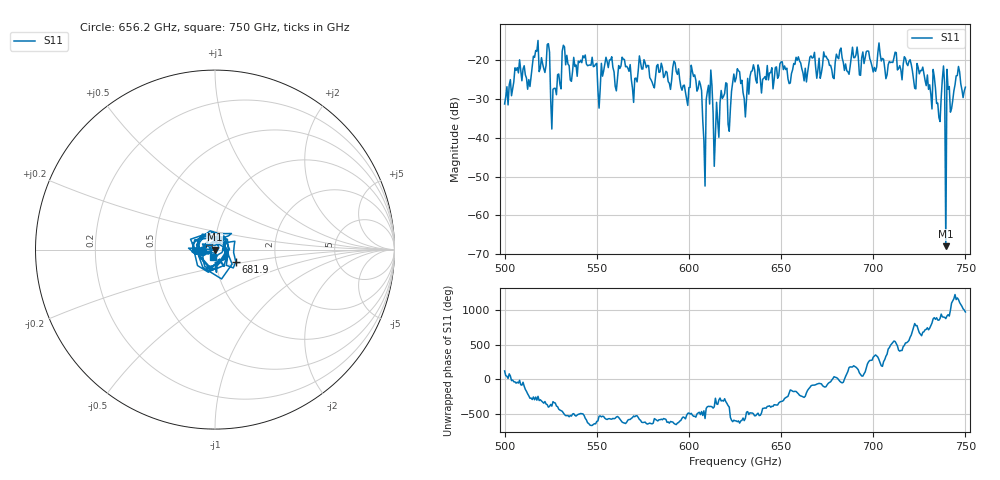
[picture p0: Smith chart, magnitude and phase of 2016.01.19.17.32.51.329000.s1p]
!Created with skrf (http://scikit-rf.org).
# GHz S RI R 50.0
!freq ReS11 ImS11
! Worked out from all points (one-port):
!   401 points, 500 GHz to 750 GHz, reference 50 ohm
!   lowest |S11| = -68.0 dB at 739.4 GHz (marker M1), VSWR 1.00, Z = 50 + j0.0145 ohm
!   |S11| at or under -10 dB: start of sweep to end of sweep
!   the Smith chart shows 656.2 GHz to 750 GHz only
!   S11 on the Smith chart (normalised r, x): 656.2 GHz: 0.86, -0.01; 681.9 GHz: 1.25, -0.17; 750 GHz: 0.97, -0.08
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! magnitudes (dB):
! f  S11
! 500 GHz  -31.3
! 506.9 GHz  -21.9
! 513.1 GHz  -25.0
! 516.9 GHz  -17.5
! 523.1 GHz  -15.9
! 526.2 GHz  -27.5
! 531.2 GHz  -17.6
! 548.8 GHz  -21.5
! 551.9 GHz  -27.3
! 562.5 GHz  -22.1
! 593.8 GHz  -23.6
! 599.4 GHz  -31.6
! 602.5 GHz  -24.2
! 608.1 GHz  -40.7
! 611.2 GHz  -31.3
! 615 GHz  -30.8
! 618.8 GHz  -29.3
! 622.5 GHz  -32.6
! 625 GHz  -25.6
! 631.2 GHz  -30.0
! 634.4 GHz  -22.7
! 656.2 GHz  -22.5
! 681.9 GHz  -17.4
! 687.5 GHz  -21.5
! 718.8 GHz  -21.4
! 739.4 GHz  -68.0
! 745.6 GHz  -23.9
! 750 GHz  -26.9
